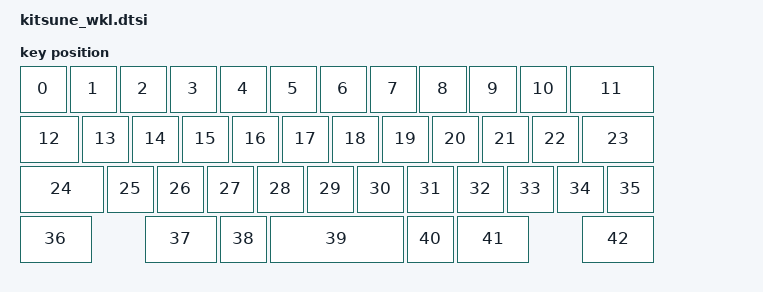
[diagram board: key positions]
#include <layouts/artifact_creatives/kitsune/position_map.dtsi>
#include <physical_layouts.dtsi>

/ {
    layout_kitsune_wkl: layout_kitsune_wkl {
        compatible = "zmk,physical-layout";
        display-name = "WKL";

        keys  //                     w   h    x    y     rot    rx    ry
            = <&key_physical_attrs 100 100    0    0       0     0     0>
            , <&key_physical_attrs 100 100  100    0       0     0     0>
            , <&key_physical_attrs 100 100  200    0       0     0     0>
            , <&key_physical_attrs 100 100  300    0       0     0     0>
            , <&key_physical_attrs 100 100  400    0       0     0     0>
            , <&key_physical_attrs 100 100  500    0       0     0     0>
            , <&key_physical_attrs 100 100  600    0       0     0     0>
            , <&key_physical_attrs 100 100  700    0       0     0     0>
            , <&key_physical_attrs 100 100  800    0       0     0     0>
            , <&key_physical_attrs 100 100  900    0       0     0     0>
            , <&key_physical_attrs 100 100 1000    0       0     0     0>
            , <&key_physical_attrs 175 100 1100    0       0     0     0>
            , <&key_physical_attrs 125 100    0  100       0     0     0>
            , <&key_physical_attrs 100 100  125  100       0     0     0>
            , <&key_physical_attrs 100 100  225  100       0     0     0>
            , <&key_physical_attrs 100 100  325  100       0     0     0>
            , <&key_physical_attrs 100 100  425  100       0     0     0>
            , <&key_physical_attrs 100 100  525  100       0     0     0>
            , <&key_physical_attrs 100 100  625  100       0     0     0>
            , <&key_physical_attrs 100 100  725  100       0     0     0>
            , <&key_physical_attrs 100 100  825  100       0     0     0>
            , <&key_physical_attrs 100 100  925  100       0     0     0>
            , <&key_physical_attrs 100 100 1025  100       0     0     0>
            , <&key_physical_attrs 150 100 1125  100       0     0     0>
            , <&key_physical_attrs 175 100    0  200       0     0     0>
            , <&key_physical_attrs 100 100  175  200       0     0     0>
            , <&key_physical_attrs 100 100  275  200       0     0     0>
            , <&key_physical_attrs 100 100  375  200       0     0     0>
            , <&key_physical_attrs 100 100  475  200       0     0     0>
            , <&key_physical_attrs 100 100  575  200       0     0     0>
            , <&key_physical_attrs 100 100  675  200       0     0     0>
            , <&key_physical_attrs 100 100  775  200       0     0     0>
            , <&key_physical_attrs 100 100  875  200       0     0     0>
            , <&key_physical_attrs 100 100  975  200       0     0     0>
            , <&key_physical_attrs 100 100 1075  200       0     0     0>
            , <&key_physical_attrs 100 100 1175  200       0     0     0>
            , <&key_physical_attrs 150 100    0  300       0     0     0>

            , <&key_physical_attrs 150 100  250  300       0     0     0>
            , <&key_physical_attrs 100 100  400  300       0     0     0>
            , <&key_physical_attrs 275 100  500  300       0     0     0>
            , <&key_physical_attrs 100 100  775  300       0     0     0>
            , <&key_physical_attrs 150 100  875  300       0     0     0>

            , <&key_physical_attrs 150 100 1125  300       0     0     0>
            ;
    };
};

&layouts_kitsune_position_map {
    layout_kitsune_wkl_posmap: layout_kitsune_wkl {
        physical-layout = <&layout_kitsune_wkl>;
        positions
            = < 0  1  2  3  4  5  6  7  8  9 10 11>
            , <12 13 14 15 16 17 18 19 20 21 22 23>
            , <24 25 26 27 28 29 30 31 32 33 34 35>
            , <36 44 37 38 39 40 41 43 42>
            ;
    };
};
